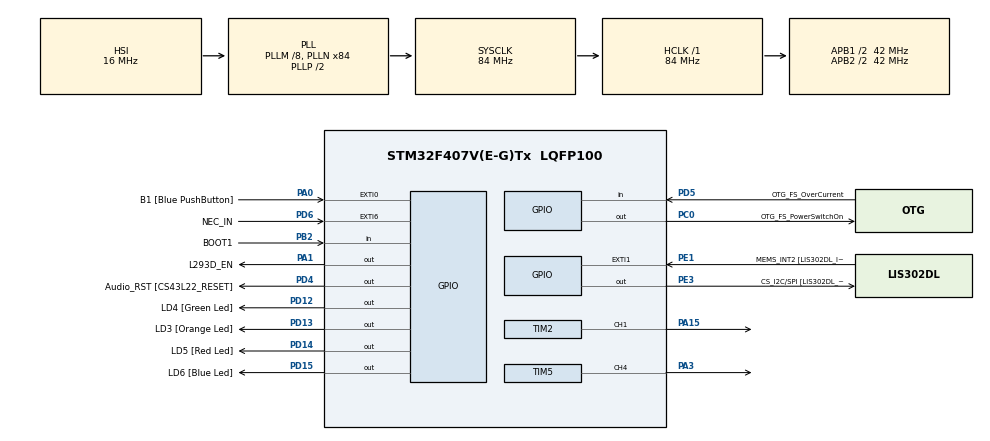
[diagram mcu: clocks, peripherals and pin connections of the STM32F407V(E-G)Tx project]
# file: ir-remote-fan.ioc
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Mcu.Family=STM32F4
Mcu.Name=STM32F407V(E-G)Tx
Mcu.Package=LQFP100
NVIC.EXTI9_5_IRQn=true\:2\:0\:true\:false\:true\:true\:true\:true
NVIC.PriorityGroup=NVIC_PRIORITYGROUP_2
NVIC.TIM3_IRQn=true\:1\:0\:true\:false\:true\:true\:true\:true
PA0-WKUP.GPIO_Label=B1 [Blue PushButton]
PA0-WKUP.Signal=GPXTI0
PA1.GPIO_Label=L293D_EN
PA1.Signal=GPIO_Output
PA10.GPIO_Label=OTG_FS_ID
PA10.GPIO_Mode=GPIO_MODE_AF_PP
PA10.GPIO_PuPd=GPIO_NOPULL
PA10.GPIO_Speed=GPIO_SPEED_FREQ_LOW
PA10.Signal=USB_OTG_FS_ID
PA11.GPIO_Label=OTG_FS_DM
PA11.GPIO_Mode=GPIO_MODE_AF_PP
PA11.GPIO_PuPd=GPIO_NOPULL
PA11.GPIO_Speed=GPIO_SPEED_FREQ_LOW
PA11.Signal=USB_OTG_FS_DM
PA12.GPIO_Label=OTG_FS_DP
PA12.GPIO_Mode=GPIO_MODE_AF_PP
PA12.GPIO_PuPd=GPIO_NOPULL
PA12.GPIO_Speed=GPIO_SPEED_FREQ_LOW
PA12.Signal=USB_OTG_FS_DP
PA13.GPIO_Label=SWDIO
PA13.Signal=SYS_JTMS-SWDIO
PA14.GPIO_Label=SWCLK
PA14.Signal=SYS_JTCK-SWCLK
PA15.Signal=S_TIM2_CH1_ETR
PA3.Signal=S_TIM5_CH4
PA4.GPIO_Label=I2S3_WS [CS43L22_LRCK]
PA4.GPIO_Mode=GPIO_MODE_AF_PP
PA4.GPIO_PuPd=GPIO_NOPULL
PA4.GPIO_Speed=GPIO_SPEED_FREQ_LOW
PA4.Signal=I2S3_WS
PA5.GPIO_Label=SPI1_SCK [LIS302DL_SCL/SPC]
PA5.GPIO_Mode=GPIO_MODE_AF_PP
PA5.GPIO_PuPd=GPIO_NOPULL
PA5.GPIO_Speed=GPIO_SPEED_FREQ_LOW
PA5.Signal=SPI1_SCK
PA6.GPIO_Label=SPI1_MISO [LIS302DL_SDO]
PA6.GPIO_Mode=GPIO_MODE_AF_PP
PA6.GPIO_PuPd=GPIO_NOPULL
PA6.GPIO_Speed=GPIO_SPEED_FREQ_LOW
PA6.Signal=SPI1_MISO
PA7.GPIO_Label=SPI1_MOSI [LIS302DL_SDA/SDI/SDO]
PA7.GPIO_Mode=GPIO_MODE_AF_PP
PA7.GPIO_PuPd=GPIO_NOPULL
PA7.GPIO_Speed=GPIO_SPEED_FREQ_LOW
PA7.Signal=SPI1_MOSI
PA9.GPIO_Label=VBUS_FS
PA9.GPIO_Mode=GPIO_MODE_INPUT
PA9.GPIO_PuPd=GPIO_NOPULL
PA9.Signal=USB_OTG_FS_VBUS
PB10.GPIO_Label=CLK_IN [MP45DT02_CLK]
PB10.GPIO_Mode=GPIO_MODE_AF_PP
PB10.GPIO_PuPd=GPIO_NOPULL
PB10.GPIO_Speed=GPIO_SPEED_FREQ_LOW
PB10.Signal=I2S2_CK
PB2.GPIO_Label=BOOT1
PB2.GPIO_Mode=GPIO_MODE_INPUT
PB2.GPIO_PuPd=GPIO_NOPULL
PB2.Signal=GPIO_Input
PB3.GPIO_Label=SWO
PB3.Signal=SYS_JTDO-SWO
PB6.GPIO_Label=Audio_SCL [CS43L22_SCL]
PB6.GPIO_Mode=GPIO_MODE_AF_OD
PB6.GPIO_PuPd=GPIO_NOPULL
PB6.GPIO_Speed=GPIO_SPEED_FREQ_LOW
PB6.Signal=I2C1_SCL
PB9.GPIO_Label=Audio_SDA [CS43L22_SDA]
PB9.GPIO_Mode=GPIO_MODE_AF_OD
PB9.GPIO_PuPd=GPIO_NOPULL
PB9.GPIO_Speed=GPIO_SPEED_FREQ_LOW
PB9.Signal=I2C1_SDA
PC0.GPIO_Label=OTG_FS_PowerSwitchOn
PC0.GPIO_PuPd=GPIO_NOPULL
PC0.GPIO_Speed=GPIO_SPEED_FREQ_LOW
PC0.PinState=GPIO_PIN_SET
PC0.Signal=GPIO_Output
PC10.GPIO_Label=I2S3_SCK [CS43L22_SCLK]
PC10.GPIO_Mode=GPIO_MODE_AF_PP
PC10.GPIO_PuPd=GPIO_NOPULL
PC10.GPIO_Speed=GPIO_SPEED_FREQ_LOW
PC10.Signal=I2S3_CK
PC12.GPIO_Label=I2S3_SD [CS43L22_SDIN]
PC12.GPIO_Mode=GPIO_MODE_AF_PP
PC12.GPIO_PuPd=GPIO_NOPULL
PC12.GPIO_Speed=GPIO_SPEED_FREQ_LOW
PC12.Signal=I2S3_SD
PC14-OSC32_IN.GPIO_Label=PC14-OSC32_IN
PC14-OSC32_IN.Signal=RCC_OSC32_IN
PC15-OSC32_OUT.GPIO_Label=PC15-OSC32_OUT
PC15-OSC32_OUT.Signal=RCC_OSC32_OUT
PC3.GPIO_Label=PDM_OUT [MP45DT02_DOUT]
PC3.GPIO_Mode=GPIO_MODE_AF_PP
PC3.GPIO_PuPd=GPIO_NOPULL
PC3.GPIO_Speed=GPIO_SPEED_FREQ_LOW
PC3.Signal=I2S2_SD
PC7.GPIO_Label=I2S3_MCK [CS43L22_MCLK]
PC7.GPIO_Mode=GPIO_MODE_AF_PP
PC7.GPIO_PuPd=GPIO_NOPULL
PC7.GPIO_Speed=GPIO_SPEED_FREQ_LOW
PC7.Signal=I2S3_MCK
PD12.GPIO_Label=LD4 [Green Led]
PD12.GPIO_PuPd=GPIO_NOPULL
PD12.GPIO_Speed=GPIO_SPEED_FREQ_LOW
PD12.Signal=GPIO_Output
PD13.GPIO_Label=LD3 [Orange Led]
PD13.GPIO_PuPd=GPIO_NOPULL
PD13.GPIO_Speed=GPIO_SPEED_FREQ_LOW
PD13.Signal=GPIO_Output
PD14.GPIO_Label=LD5 [Red Led]
PD14.GPIO_PuPd=GPIO_NOPULL
PD14.GPIO_Speed=GPIO_SPEED_FREQ_LOW
PD14.Signal=GPIO_Output
PD15.GPIO_Label=LD6 [Blue Led]
PD15.GPIO_PuPd=GPIO_NOPULL
PD15.GPIO_Speed=GPIO_SPEED_FREQ_LOW
PD15.Signal=GPIO_Output
PD4.GPIO_Label=Audio_RST [CS43L22_RESET]
PD4.GPIO_PuPd=GPIO_NOPULL
PD4.GPIO_Speed=GPIO_SPEED_FREQ_LOW
PD4.Signal=GPIO_Output
PD5.GPIO_Label=OTG_FS_OverCurrent
PD5.GPIO_Mode=GPIO_MODE_INPUT
PD5.GPIO_PuPd=GPIO_NOPULL
PD5.Signal=GPIO_Input
PD6.GPIO_Label=NEC_IN
PD6.GPIO_ModeDefaultEXTI=GPIO_MODE_IT_RISING_FALLING
PD6.Signal=GPXTI6
PE1.GPIO_Label=MEMS_INT2 [LIS302DL_INT2]
PE1.GPIO_ModeDefaultEXTI=GPIO_MODE_EVT_RISING
PE1.GPIO_PuPd=GPIO_NOPULL
PE1.Signal=GPXTI1
PE3.GPIO_Label=CS_I2C/SPI [LIS302DL_CS_I2C/SPI]
PE3.GPIO_PuPd=GPIO_NOPULL
PE3.GPIO_Speed=GPIO_SPEED_FREQ_LOW
PE3.Signal=GPIO_Output
PH0-OSC_IN.GPIO_Label=PH0-OSC_IN
PH0-OSC_IN.Signal=RCC_OSC_IN
PH1-OSC_OUT.GPIO_Label=PH1-OSC_OUT
PH1-OSC_OUT.Signal=RCC_OSC_OUT
ProjectManager.HeapSize=0x200
ProjectManager.StackSize=0x400
ProjectManager.TargetToolchain=STM32CubeIDE
RCC.48MHZClocksFreq_Value=24000000
RCC.AHBFreq_Value=84000000
RCC.APB1CLKDivider=RCC_HCLK_DIV2
RCC.APB1Freq_Value=42000000
RCC.APB1TimFreq_Value=84000000
RCC.APB2CLKDivider=RCC_HCLK_DIV2
RCC.APB2Freq_Value=42000000
RCC.APB2TimFreq_Value=84000000
RCC.CortexFreq_Value=84000000
RCC.HCLKFreq_Value=84000000
RCC.HSE_VALUE=8000000
RCC.HSI_VALUE=16000000
RCC.LSE_VALUE=32768
RCC.PLLM=8
RCC.PLLN=84
RCC.PLLQ=7
RCC.SYSCLKFreq_VALUE=84000000
RCC.SYSCLKSource=RCC_SYSCLKSOURCE_PLLCLK
RCC.VCOOutputFreq_Value=168000000
SH.S_TIM2_CH1_ETR.0=TIM2_CH1,PWM Generation1 CH1
SH.S_TIM5_CH4.0=TIM5_CH4,PWM Generation4 CH4
TIM2.AutoReloadPreload=TIM_AUTORELOAD_PRELOAD_ENABLE
TIM2.Channel-PWM\ Generation1\ CH1=TIM_CHANNEL_1
TIM2.Period=2048
TIM2.Pulse-PWM\ Generation1\ CH1=0
TIM3.Period=841
TIM5.Channel-PWM\ Generation4\ CH4=TIM_CHANNEL_4
TIM5.Period=2048
TIM5.Pulse-PWM\ Generation4\ CH4=0
VP_TIM2_VS_ClockSourceINT.Mode=Internal
VP_TIM3_VS_ClockSourceINT.Mode=Internal
VP_TIM5_VS_ClockSourceINT.Mode=Internal
board=STM32F407G-DISC1

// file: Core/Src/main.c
/* USER CODE BEGIN Header */
/**
  ******************************************************************************
  * @file           : main.c
  * @brief          : Main program body
  ******************************************************************************
  * @attention
  *
  * Copyright (c) 2024 STMicroelectronics.
  * All rights reserved.
  *
  * This software is licensed under terms that can be found in the LICENSE file
  * in the root directory of this software component.
  * If no LICENSE file comes with this software, it is provided AS-IS.
  *
  ******************************************************************************
  */
/* USER CODE END Header */
#include "main.h"

/* USER CODE BEGIN Includes */
#include "remote.h"
#include "fan.h"

/* USER CODE END Includes */

TIM_HandleTypeDef htim2;
TIM_HandleTypeDef htim3;
TIM_HandleTypeDef htim5;

/* USER CODE BEGIN PV */
Remote_Device_t remote;
Fan_Device_t fan;

/* USER CODE END PV */

void SystemClock_Config(void);
static void MX_GPIO_Init(void);
static void MX_TIM2_Init(void);
static void MX_TIM5_Init(void);
static void MX_TIM3_Init(void);

/* USER CODE BEGIN 0 */

void Remote_Key_Press_Callback(char_code_t pressed_char)
{
	remote.last_char_code = pressed_char;
	remote.last_char_str = Remote_Decode_Char_Code(remote.last_char_code);

	switch (remote.last_char_code)
	{
	case CHAR_CODE_PWR:
		if (fan.state == FAN_STATE_OFF)
		{
			Fan_On(&fan);
		}
		else
		{
			Fan_Off(&fan);
		}
		break;
	case CHAR_CODE_0:
		Fan_Set_Speed(&fan, FAN_SPEED_0);
		break;
	case CHAR_CODE_1:
		Fan_Set_Speed(&fan, FAN_SPEED_1);
		break;
	case CHAR_CODE_2:
		Fan_Set_Speed(&fan, FAN_SPEED_2);
		break;
	case CHAR_CODE_3:
		Fan_Set_Speed(&fan, FAN_SPEED_3);
		break;
	case CHAR_CODE_4:
		Fan_Set_Speed(&fan, FAN_SPEED_4);
		break;
	case CHAR_CODE_5:
		Fan_Set_Speed(&fan, FAN_SPEED_5);
		break;
	case CHAR_CODE_6:
		Fan_Set_Speed(&fan, FAN_SPEED_6);
		break;
	case CHAR_CODE_7:
		Fan_Set_Speed(&fan, FAN_SPEED_7);
		break;
	case CHAR_CODE_8:
		Fan_Set_Speed(&fan, FAN_SPEED_8);
		break;
	case CHAR_CODE_9:
		Fan_Set_Speed(&fan, FAN_SPEED_9);
		break;
	}
}

void Remote_Key_Hold_Callback()
{
}

/* USER CODE END 0 */

int main(void)
{

  /* MCU Configuration--------------------------------------------------------*/

  /* Reset of all peripherals, Initializes the Flash interface and the Systick. */
  HAL_Init();

  /* Configure the system clock */
  SystemClock_Config();

  /* Initialize all configured peripherals */
  MX_GPIO_Init();
  MX_TIM2_Init();
  MX_TIM5_Init();
  MX_TIM3_Init();
  /* USER CODE BEGIN 2 */

  Remote_Listen(&remote);
  Fan_Initialize(&fan);

  /* USER CODE END 2 */

  /* Infinite loop */
  while (1)
  {

  }
}

void SystemClock_Config(void)
{
  RCC_OscInitTypeDef RCC_OscInitStruct = {0};
  RCC_ClkInitTypeDef RCC_ClkInitStruct = {0};

  /** Configure the main internal regulator output voltage
  */
  __HAL_RCC_PWR_CLK_ENABLE();
  __HAL_PWR_VOLTAGESCALING_CONFIG(PWR_REGULATOR_VOLTAGE_SCALE1);

  /** Initializes the RCC Oscillators according to the specified parameters
  * in the RCC_OscInitTypeDef structure.
  */
  RCC_OscInitStruct.OscillatorType = RCC_OSCILLATORTYPE_HSI;
  RCC_OscInitStruct.HSIState = RCC_HSI_ON;
  RCC_OscInitStruct.HSICalibrationValue = RCC_HSICALIBRATION_DEFAULT;
  RCC_OscInitStruct.PLL.PLLState = RCC_PLL_ON;
  RCC_OscInitStruct.PLL.PLLSource = RCC_PLLSOURCE_HSI;
  RCC_OscInitStruct.PLL.PLLM = 8;
  RCC_OscInitStruct.PLL.PLLN = 84;
  RCC_OscInitStruct.PLL.PLLP = RCC_PLLP_DIV2;
  RCC_OscInitStruct.PLL.PLLQ = 7;
  if (HAL_RCC_OscConfig(&RCC_OscInitStruct) != HAL_OK)
  {
    Error_Handler();
  }

  /** Initializes the CPU, AHB and APB buses clocks
  */
  RCC_ClkInitStruct.ClockType = RCC_CLOCKTYPE_HCLK|RCC_CLOCKTYPE_SYSCLK
                              |RCC_CLOCKTYPE_PCLK1|RCC_CLOCKTYPE_PCLK2;
  RCC_ClkInitStruct.SYSCLKSource = RCC_SYSCLKSOURCE_PLLCLK;
  RCC_ClkInitStruct.AHBCLKDivider = RCC_SYSCLK_DIV1;
  RCC_ClkInitStruct.APB1CLKDivider = RCC_HCLK_DIV2;
  RCC_ClkInitStruct.APB2CLKDivider = RCC_HCLK_DIV2;

  if (HAL_RCC_ClockConfig(&RCC_ClkInitStruct, FLASH_LATENCY_2) != HAL_OK)
  {
    Error_Handler();
  }
}

static void MX_TIM2_Init(void)
{

  TIM_ClockConfigTypeDef sClockSourceConfig = {0};
  TIM_MasterConfigTypeDef sMasterConfig = {0};
  TIM_OC_InitTypeDef sConfigOC = {0};

  htim2.Instance = TIM2;
  htim2.Init.Prescaler = 0;
  htim2.Init.CounterMode = TIM_COUNTERMODE_UP;
  htim2.Init.Period = 2048;
  htim2.Init.ClockDivision = TIM_CLOCKDIVISION_DIV1;
  htim2.Init.AutoReloadPreload = TIM_AUTORELOAD_PRELOAD_ENABLE;
  if (HAL_TIM_Base_Init(&htim2) != HAL_OK)
  {
    Error_Handler();
  }
  sClockSourceConfig.ClockSource = TIM_CLOCKSOURCE_INTERNAL;
  if (HAL_TIM_ConfigClockSource(&htim2, &sClockSourceConfig) != HAL_OK)
  {
    Error_Handler();
  }
  if (HAL_TIM_PWM_Init(&htim2) != HAL_OK)
  {
    Error_Handler();
  }
  sMasterConfig.MasterOutputTrigger = TIM_TRGO_RESET;
  sMasterConfig.MasterSlaveMode = TIM_MASTERSLAVEMODE_DISABLE;
  if (HAL_TIMEx_MasterConfigSynchronization(&htim2, &sMasterConfig) != HAL_OK)
  {
    Error_Handler();
  }
  sConfigOC.OCMode = TIM_OCMODE_PWM1;
  sConfigOC.Pulse = 0;
  sConfigOC.OCPolarity = TIM_OCPOLARITY_HIGH;
  sConfigOC.OCFastMode = TIM_OCFAST_DISABLE;
  if (HAL_TIM_PWM_ConfigChannel(&htim2, &sConfigOC, TIM_CHANNEL_1) != HAL_OK)
  {
    Error_Handler();
  }
  HAL_TIM_MspPostInit(&htim2);

}

static void MX_TIM3_Init(void)
{

  TIM_ClockConfigTypeDef sClockSourceConfig = {0};
  TIM_MasterConfigTypeDef sMasterConfig = {0};

  htim3.Instance = TIM3;
  htim3.Init.Prescaler = 0;
  htim3.Init.CounterMode = TIM_COUNTERMODE_UP;
  htim3.Init.Period = 841;
  htim3.Init.ClockDivision = TIM_CLOCKDIVISION_DIV1;
  htim3.Init.AutoReloadPreload = TIM_AUTORELOAD_PRELOAD_DISABLE;
  if (HAL_TIM_Base_Init(&htim3) != HAL_OK)
  {
    Error_Handler();
  }
  sClockSourceConfig.ClockSource = TIM_CLOCKSOURCE_INTERNAL;
  if (HAL_TIM_ConfigClockSource(&htim3, &sClockSourceConfig) != HAL_OK)
  {
    Error_Handler();
  }
  sMasterConfig.MasterOutputTrigger = TIM_TRGO_RESET;
  sMasterConfig.MasterSlaveMode = TIM_MASTERSLAVEMODE_DISABLE;
  if (HAL_TIMEx_MasterConfigSynchronization(&htim3, &sMasterConfig) != HAL_OK)
  {
    Error_Handler();
  }

}

static void MX_TIM5_Init(void)
{

  TIM_ClockConfigTypeDef sClockSourceConfig = {0};
  TIM_MasterConfigTypeDef sMasterConfig = {0};
  TIM_OC_InitTypeDef sConfigOC = {0};

  htim5.Instance = TIM5;
  htim5.Init.Prescaler = 0;
  htim5.Init.CounterMode = TIM_COUNTERMODE_UP;
  htim5.Init.Period = 2048;
  htim5.Init.ClockDivision = TIM_CLOCKDIVISION_DIV1;
  htim5.Init.AutoReloadPreload = TIM_AUTORELOAD_PRELOAD_DISABLE;
  if (HAL_TIM_Base_Init(&htim5) != HAL_OK)
  {
    Error_Handler();
  }
  sClockSourceConfig.ClockSource = TIM_CLOCKSOURCE_INTERNAL;
  if (HAL_TIM_ConfigClockSource(&htim5, &sClockSourceConfig) != HAL_OK)
  {
    Error_Handler();
  }
  if (HAL_TIM_PWM_Init(&htim5) != HAL_OK)
  {
    Error_Handler();
  }
  sMasterConfig.MasterOutputTrigger = TIM_TRGO_RESET;
  sMasterConfig.MasterSlaveMode = TIM_MASTERSLAVEMODE_DISABLE;
  if (HAL_TIMEx_MasterConfigSynchronization(&htim5, &sMasterConfig) != HAL_OK)
  {
    Error_Handler();
  }
  sConfigOC.OCMode = TIM_OCMODE_PWM1;
  sConfigOC.Pulse = 0;
  sConfigOC.OCPolarity = TIM_OCPOLARITY_HIGH;
  sConfigOC.OCFastMode = TIM_OCFAST_DISABLE;
  if (HAL_TIM_PWM_ConfigChannel(&htim5, &sConfigOC, TIM_CHANNEL_4) != HAL_OK)
  {
    Error_Handler();
  }
  HAL_TIM_MspPostInit(&htim5);

}

static void MX_GPIO_Init(void)
{
  GPIO_InitTypeDef GPIO_InitStruct = {0};

  /* GPIO Ports Clock Enable */
  __HAL_RCC_GPIOE_CLK_ENABLE();
  __HAL_RCC_GPIOC_CLK_ENABLE();
  __HAL_RCC_GPIOH_CLK_ENABLE();
  __HAL_RCC_GPIOA_CLK_ENABLE();
  __HAL_RCC_GPIOB_CLK_ENABLE();
  __HAL_RCC_GPIOD_CLK_ENABLE();

  /*Configure GPIO pin Output Level */
  HAL_GPIO_WritePin(CS_I2C_SPI_GPIO_Port, CS_I2C_SPI_Pin, GPIO_PIN_RESET);

  /*Configure GPIO pin Output Level */
  HAL_GPIO_WritePin(OTG_FS_PowerSwitchOn_GPIO_Port, OTG_FS_PowerSwitchOn_Pin, GPIO_PIN_SET);

  /*Configure GPIO pin Output Level */
  HAL_GPIO_WritePin(L293D_EN_GPIO_Port, L293D_EN_Pin, GPIO_PIN_RESET);

  /*Configure GPIO pin Output Level */
  HAL_GPIO_WritePin(GPIOD, LD4_Pin|LD3_Pin|LD5_Pin|LD6_Pin
                          |Audio_RST_Pin, GPIO_PIN_RESET);

  /*Configure GPIO pin : CS_I2C_SPI_Pin */
  GPIO_InitStruct.Pin = CS_I2C_SPI_Pin;
  GPIO_InitStruct.Mode = GPIO_MODE_OUTPUT_PP;
  GPIO_InitStruct.Pull = GPIO_NOPULL;
  GPIO_InitStruct.Speed = GPIO_SPEED_FREQ_LOW;
  HAL_GPIO_Init(CS_I2C_SPI_GPIO_Port, &GPIO_InitStruct);

  /*Configure GPIO pin : OTG_FS_PowerSwitchOn_Pin */
  GPIO_InitStruct.Pin = OTG_FS_PowerSwitchOn_Pin;
  GPIO_InitStruct.Mode = GPIO_MODE_OUTPUT_PP;
  GPIO_InitStruct.Pull = GPIO_NOPULL;
  GPIO_InitStruct.Speed = GPIO_SPEED_FREQ_LOW;
  HAL_GPIO_Init(OTG_FS_PowerSwitchOn_GPIO_Port, &GPIO_InitStruct);

  /*Configure GPIO pin : PDM_OUT_Pin */
  GPIO_InitStruct.Pin = PDM_OUT_Pin;
  GPIO_InitStruct.Mode = GPIO_MODE_AF_PP;
  GPIO_InitStruct.Pull = GPIO_NOPULL;
  GPIO_InitStruct.Speed = GPIO_SPEED_FREQ_LOW;
  GPIO_InitStruct.Alternate = GPIO_AF5_SPI2;
  HAL_GPIO_Init(PDM_OUT_GPIO_Port, &GPIO_InitStruct);

  /*Configure GPIO pin : B1_Pin */
  GPIO_InitStruct.Pin = B1_Pin;
  GPIO_InitStruct.Mode = GPIO_MODE_IT_RISING;
  GPIO_InitStruct.Pull = GPIO_NOPULL;
  HAL_GPIO_Init(B1_GPIO_Port, &GPIO_InitStruct);

  /*Configure GPIO pin : L293D_EN_Pin */
  GPIO_InitStruct.Pin = L293D_EN_Pin;
  GPIO_InitStruct.Mode = GPIO_MODE_OUTPUT_PP;
  GPIO_InitStruct.Pull = GPIO_NOPULL;
  GPIO_InitStruct.Speed = GPIO_SPEED_FREQ_LOW;
  HAL_GPIO_Init(L293D_EN_GPIO_Port, &GPIO_InitStruct);

  /*Configure GPIO pin : I2S3_WS_Pin */
  GPIO_InitStruct.Pin = I2S3_WS_Pin;
  GPIO_InitStruct.Mode = GPIO_MODE_AF_PP;
  GPIO_InitStruct.Pull = GPIO_NOPULL;
  GPIO_InitStruct.Speed = GPIO_SPEED_FREQ_LOW;
  GPIO_InitStruct.Alternate = GPIO_AF6_SPI3;
  HAL_GPIO_Init(I2S3_WS_GPIO_Port, &GPIO_InitStruct);

  /*Configure GPIO pins : SPI1_SCK_Pin SPI1_MISO_Pin SPI1_MOSI_Pin */
  GPIO_InitStruct.Pin = SPI1_SCK_Pin|SPI1_MISO_Pin|SPI1_MOSI_Pin;
  GPIO_InitStruct.Mode = GPIO_MODE_AF_PP;
  GPIO_InitStruct.Pull = GPIO_NOPULL;
  GPIO_InitStruct.Speed = GPIO_SPEED_FREQ_LOW;
  GPIO_InitStruct.Alternate = GPIO_AF5_SPI1;
  HAL_GPIO_Init(GPIOA, &GPIO_InitStruct);

  /*Configure GPIO pin : BOOT1_Pin */
  GPIO_InitStruct.Pin = BOOT1_Pin;
  GPIO_InitStruct.Mode = GPIO_MODE_INPUT;
  GPIO_InitStruct.Pull = GPIO_NOPULL;
  HAL_GPIO_Init(BOOT1_GPIO_Port, &GPIO_InitStruct);

  /*Configure GPIO pin : CLK_IN_Pin */
  GPIO_InitStruct.Pin = CLK_IN_Pin;
  GPIO_InitStruct.Mode = GPIO_MODE_AF_PP;
  GPIO_InitStruct.Pull = GPIO_NOPULL;
  GPIO_InitStruct.Speed = GPIO_SPEED_FREQ_LOW;
  GPIO_InitStruct.Alternate = GPIO_AF5_SPI2;
  HAL_GPIO_Init(CLK_IN_GPIO_Port, &GPIO_InitStruct);

  /*Configure GPIO pins : LD4_Pin LD3_Pin LD5_Pin LD6_Pin
                           Audio_RST_Pin */
  GPIO_InitStruct.Pin = LD4_Pin|LD3_Pin|LD5_Pin|LD6_Pin
                          |Audio_RST_Pin;
  GPIO_InitStruct.Mode = GPIO_MODE_OUTPUT_PP;
  GPIO_InitStruct.Pull = GPIO_NOPULL;
  GPIO_InitStruct.Speed = GPIO_SPEED_FREQ_LOW;
  HAL_GPIO_Init(GPIOD, &GPIO_InitStruct);

  /*Configure GPIO pins : I2S3_MCK_Pin I2S3_SCK_Pin I2S3_SD_Pin */
  GPIO_InitStruct.Pin = I2S3_MCK_Pin|I2S3_SCK_Pin|I2S3_SD_Pin;
  GPIO_InitStruct.Mode = GPIO_MODE_AF_PP;
  GPIO_InitStruct.Pull = GPIO_NOPULL;
  GPIO_InitStruct.Speed = GPIO_SPEED_FREQ_LOW;
  GPIO_InitStruct.Alternate = GPIO_AF6_SPI3;
  HAL_GPIO_Init(GPIOC, &GPIO_InitStruct);

  /*Configure GPIO pin : VBUS_FS_Pin */
  GPIO_InitStruct.Pin = VBUS_FS_Pin;
  GPIO_InitStruct.Mode = GPIO_MODE_INPUT;
  GPIO_InitStruct.Pull = GPIO_NOPULL;
  HAL_GPIO_Init(VBUS_FS_GPIO_Port, &GPIO_InitStruct);

  /*Configure GPIO pins : OTG_FS_ID_Pin OTG_FS_DM_Pin OTG_FS_DP_Pin */
  GPIO_InitStruct.Pin = OTG_FS_ID_Pin|OTG_FS_DM_Pin|OTG_FS_DP_Pin;
  GPIO_InitStruct.Mode = GPIO_MODE_AF_PP;
  GPIO_InitStruct.Pull = GPIO_NOPULL;
  GPIO_InitStruct.Speed = GPIO_SPEED_FREQ_LOW;
  GPIO_InitStruct.Alternate = GPIO_AF10_OTG_FS;
  HAL_GPIO_Init(GPIOA, &GPIO_InitStruct);

  /*Configure GPIO pin : OTG_FS_OverCurrent_Pin */
  GPIO_InitStruct.Pin = OTG_FS_OverCurrent_Pin;
  GPIO_InitStruct.Mode = GPIO_MODE_INPUT;
  GPIO_InitStruct.Pull = GPIO_NOPULL;
  HAL_GPIO_Init(OTG_FS_OverCurrent_GPIO_Port, &GPIO_InitStruct);

  /*Configure GPIO pin : NEC_IN_Pin */
  GPIO_InitStruct.Pin = NEC_IN_Pin;
  GPIO_InitStruct.Mode = GPIO_MODE_IT_RISING_FALLING;
  GPIO_InitStruct.Pull = GPIO_NOPULL;
  HAL_GPIO_Init(NEC_IN_GPIO_Port, &GPIO_InitStruct);

  /*Configure GPIO pins : Audio_SCL_Pin Audio_SDA_Pin */
  GPIO_InitStruct.Pin = Audio_SCL_Pin|Audio_SDA_Pin;
  GPIO_InitStruct.Mode = GPIO_MODE_AF_OD;
  GPIO_InitStruct.Pull = GPIO_NOPULL;
  GPIO_InitStruct.Speed = GPIO_SPEED_FREQ_LOW;
  GPIO_InitStruct.Alternate = GPIO_AF4_I2C1;
  HAL_GPIO_Init(GPIOB, &GPIO_InitStruct);

  /*Configure GPIO pin : MEMS_INT2_Pin */
  GPIO_InitStruct.Pin = MEMS_INT2_Pin;
  GPIO_InitStruct.Mode = GPIO_MODE_EVT_RISING;
  GPIO_InitStruct.Pull = GPIO_NOPULL;
  HAL_GPIO_Init(MEMS_INT2_GPIO_Port, &GPIO_InitStruct);

  /* EXTI interrupt init*/
  HAL_NVIC_SetPriority(EXTI9_5_IRQn, 2, 0);
  HAL_NVIC_EnableIRQ(EXTI9_5_IRQn);

}

void Error_Handler(void)
{
  __disable_irq();
  while (1)
  {
  }
}
